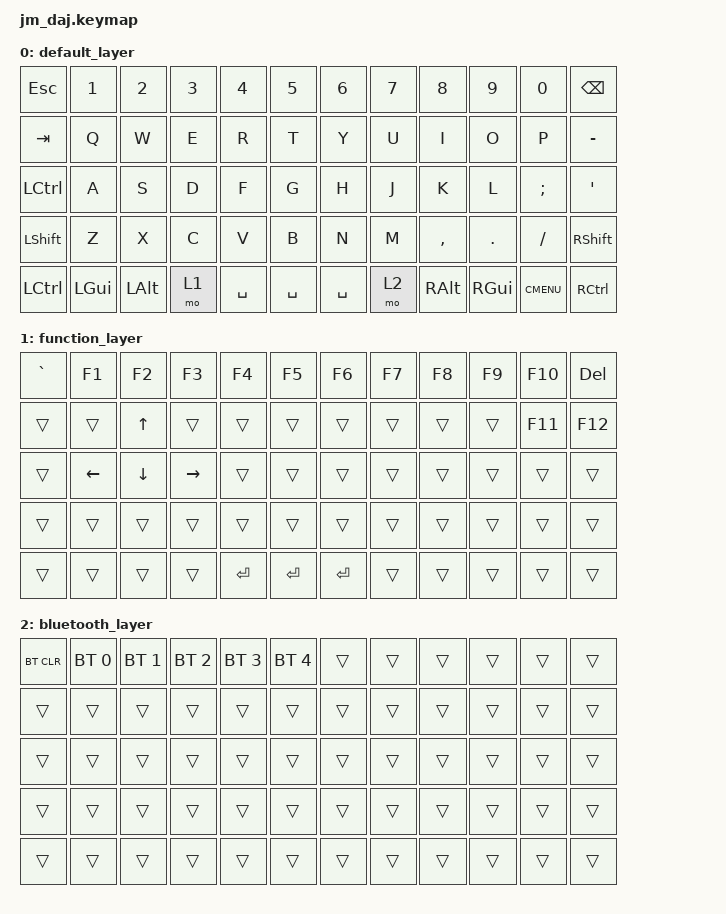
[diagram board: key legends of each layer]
#include <behaviors.dtsi>
#include <dt-bindings/zmk/keys.h>
#include <dt-bindings/zmk/bt.h>

/ {
    keymap {
        compatible = "zmk,keymap";

        default_layer {
            // ┌───┬───┬───┬───┬───┬───┬───┬───┬───┬───┬───┬───┐
            // │ESC│ 1 │ 2 │ 3 │ 4 │ 5 │ 6 │ 7 │ 8 │ 9 │ 0 │BCK│
            // ├───┼───┼───┼───┼───┼───┼───┼───┼───┼───┼───┼───┤
            // │TAB│ Q │ W │ E │ R │ T │ Y │ U │ I │ O │ P │ - │
            // ├───┼───┼───┼───┼───┼───┼───┼───┼───┼───┼───┼───┤
            // │CTL│ A │ S │ D │ F │ G │ H │ J │ K │ L │ ; │ ' │
            // ├───┼───┼───┼───┼───┼───┼───┼───┼───┼───┼───┼───┤
            // │SFT│ Z │ X │ C │ V │ B │ N │ M │ , │ . │ / │SFT│
            // ├───┼───┼───┼───┼───┼───┼───┼───┼───┼───┼───┼───┤
            // │CTL│GUI│ALT│FN1│   SPACE   │FN2│ALT│GUI│MNU│CTL│
            // └───┴───┴───┴───┴───────────┴───┴───┴───┴───┴───┘
            bindings = <
                &kp ESC   &kp N1    &kp N2    &kp N3    &kp N4    &kp N5    &kp N6    &kp N7    &kp N8    &kp N9    &kp N0    &kp BSPC
                &kp TAB   &kp Q     &kp W     &kp E     &kp R     &kp T     &kp Y     &kp U     &kp I     &kp O     &kp P     &kp MINUS
                &kp LCTRL &kp A     &kp S     &kp D     &kp F     &kp G     &kp H     &kp J     &kp K     &kp L     &kp SEMI  &kp SQT
                &kp LSHFT &kp Z     &kp X     &kp C     &kp V     &kp B     &kp N     &kp M     &kp COMMA &kp DOT   &kp FSLH  &kp RSHFT
                &kp LCTRL &kp LGUI  &kp LALT  &mo 1     &kp SPACE &kp SPACE &kp SPACE &mo 2     &kp RALT  &kp RGUI  &kp K_CMENU &kp RCTRL
            >;
        };

        function_layer {
            // ┌───┬───┬───┬───┬───┬───┬───┬───┬───┬───┬───┬───┐
            // │ ` │F1 │F2 │F3 │F4 │F5 │F6 │F7 │F8 │F9 │F10│DEL│
            // ├───┼───┼───┼───┼───┼───┼───┼───┼───┼───┼───┼───┤
            // │   │   │ ↑ │   │   │   │   │   │   │   │F11│F12│
            // ├───┼───┼───┼───┼───┼───┼───┼───┼───┼───┼───┼───┤
            // │   │ ← │ ↓ │ → │   │   │   │   │   │   │   │   │
            // ├───┼───┼───┼───┼───┼───┼───┼───┼───┼───┼───┼───┤
            // │   │   │   │   │   │   │   │   │   │   │   │   │
            // ├───┼───┼───┼───┼───┼───┼───┼───┼───┼───┼───┼───┤
            // │   │   │   │   │      ENT      │   │   │   │   │
            // └───┴───┴───┴───┴───────────────┴───┴───┴───┴───┘
            bindings = <
                &kp GRAVE &kp F1    &kp F2    &kp F3    &kp F4    &kp F5    &kp F6    &kp F7    &kp F8    &kp F9    &kp F10   &kp DEL
                &trans    &trans    &kp UP    &trans    &trans    &trans    &trans    &trans    &trans    &trans    &kp F11   &kp F12
                &trans    &kp LEFT  &kp DOWN  &kp RIGHT &trans    &trans    &trans    &trans    &trans    &trans    &trans    &trans
                &trans    &trans    &trans    &trans    &trans    &trans    &trans    &trans    &trans    &trans    &trans    &trans
                &trans    &trans    &trans    &trans    &kp RET   &kp RET   &kp RET   &trans    &trans    &trans    &trans    &trans
            >;
        };

        bluetooth_layer {
            // ┌───┬───┬───┬───┬───┬───┬───┬───┬───┬───┬───┬───┐
            // │CLR│BT1│BT2│BT3│BT4│BT5│   │   │   │   │   │   │
            // ├───┼───┼───┼───┼───┼───┼───┼───┼───┼───┼───┼───┤
            // │   │   │   │   │   │   │   │   │   │   │   │   │
            // ├───┼───┼───┼───┼───┼───┼───┼───┼───┼───┼───┼───┤
            // │   │   │   │   │   │   │   │   │   │   │   │   │
            // ├───┼───┼───┼───┼───┼───┼───┼───┼───┼───┼───┼───┤
            // │   │   │   │   │   │   │   │   │   │   │   │   │
            // ├───┼───┼───┼───┼───┼───┼───┼───┼───┼───┼───┼───┤
            // │   │   │   │   │           │   │   │   │   │   │
            // └───┴───┴───┴───┴───────────┴───┴───┴───┴───┴───┘
            bindings = <
                &bt BT_CLR &bt BT_SEL 0 &bt BT_SEL 1 &bt BT_SEL 2 &bt BT_SEL 3 &bt BT_SEL 4 &trans &trans &trans &trans &trans &trans
                &trans     &trans       &trans       &trans       &trans       &trans       &trans &trans &trans &trans &trans &trans
                &trans     &trans       &trans       &trans       &trans       &trans       &trans &trans &trans &trans &trans &trans
                &trans     &trans       &trans       &trans       &trans       &trans       &trans &trans &trans &trans &trans &trans
                &trans     &trans       &trans       &trans       &trans       &trans       &trans &trans &trans &trans &trans &trans
            >;
        };
    };
};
